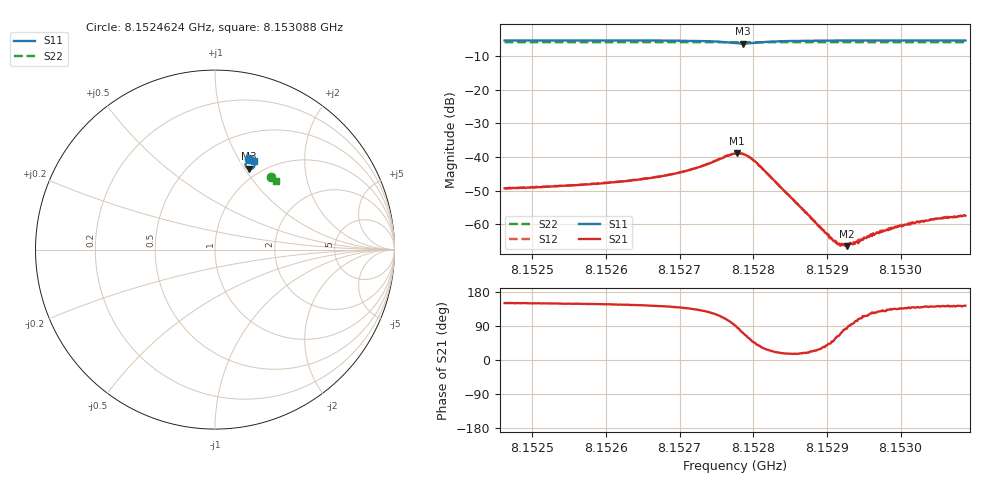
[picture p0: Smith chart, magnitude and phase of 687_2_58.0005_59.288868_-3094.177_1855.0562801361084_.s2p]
#  HZ  S  RI  R  50.00
! Rohde & Schwarz Vector Network Analyzer
! Rohde-Schwarz,ZNB20-2Port,1311601062101988,3.16
! Created: UTC 3/21/2024, 1:21:06 AM
! freq[Hz]  re:S11  im:S11  re:S21  im:S21  re:S12  im:S12  re:S22  im:S22
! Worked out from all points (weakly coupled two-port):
!   401 points, 8.1524624 GHz to 8.153088 GHz, reference 50 ohm
!   highest |S21| = -38.86 dB at 8.1527783 GHz (marker M1); lowest = -66.5 dB at 8.1529269 GHz (marker M2)
!   lowest |S11| = -6.2 dB at 8.1527862 GHz (marker M3), VSWR 2.90, Z = 44.1 + j52.1 ohm
!   |S11| at or under -10 dB: nowhere
!   |S22| runs from -5.9 to -5.8 dB; largest |S21 - S12| = 0.00047
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8.15246239e9  0.1884 0.5067  -0.00297 0.0017  -0.00295 0.00172  0.3094 0.407
8.15256718e9  0.1974 0.5031  -0.00329 0.00205  -0.00327 0.00209  0.3145 0.4029
8.15262505e9  0.2032 0.5001  -0.00361 0.00245  -0.00361 0.00249  0.3175 0.4005
8.15267198e9  0.2091 0.4962  -0.00401 0.00311  -0.00401 0.00324  0.3197 0.3984
8.1527189e9  0.2167 0.4878  -0.00465 0.00478  -0.00461 0.00489  0.3221 0.3962
8.15276426e9  0.2163 0.46  -0.0029 0.01  -0.00281 0.0101  0.3238 0.3934
8.15277521e9  0.205 0.4506  -0.000248 0.0112  0.00022 0.0112  0.3237 0.3928
8.15277833e9  0.2002 0.4491  0.000969 0.0114  0.0011 0.0114  0.3237 0.3928
8.15278615e9  0.1869 0.4503  0.00361 0.0105  0.00382 0.0105  0.3235 0.3925
8.15279398e9  0.1761 0.4579  0.00537 0.00852  0.00567 0.00833  0.3237 0.3928
8.15280336e9  0.1706 0.4705  0.00614 0.00578  0.0062 0.00568  0.3242 0.3928
8.15288e9  0.1949 0.4993  0.0011 0.00046  0.00113 0.000438  0.3288 0.3905
8.15290659e9  0.2 0.4994  0.000404 0.000464  0.000406 0.000441  0.3304 0.3893
8.15291598e9  0.2016 0.4992  0.000227 0.000457  0.00022 0.000469  0.3308 0.3888
8.15292692e9  0.203 0.499  6.21e-05 0.000469  6.18e-05 0.000471  0.3315 0.3883
8.15293944e9  0.2047 0.4988  -0.000126 0.000533  -0.000121 0.000574  0.3322 0.3879
8.15295977e9  0.2073 0.4981  -0.000389 0.000599  -0.00034 0.0006  0.333 0.3871
8.1529848e9  0.2101 0.4975  -0.000594 0.000642  -0.000572 0.000615  0.3344 0.3858
8.15301295e9  0.2128 0.4967  -0.000717 0.000683  -0.000756 0.000705  0.3357 0.3849
8.15302546e9  0.2138 0.4963  -0.00082 0.000732  -0.00081 0.000692  0.3363 0.3843
8.15306144e9  0.217 0.4954  -0.001 0.000773  -0.00102 0.00079  0.338 0.3827
8.15308803e9  0.2192 0.4945  -0.00108 0.000806  -0.00106 0.000834  0.3392 0.3814
